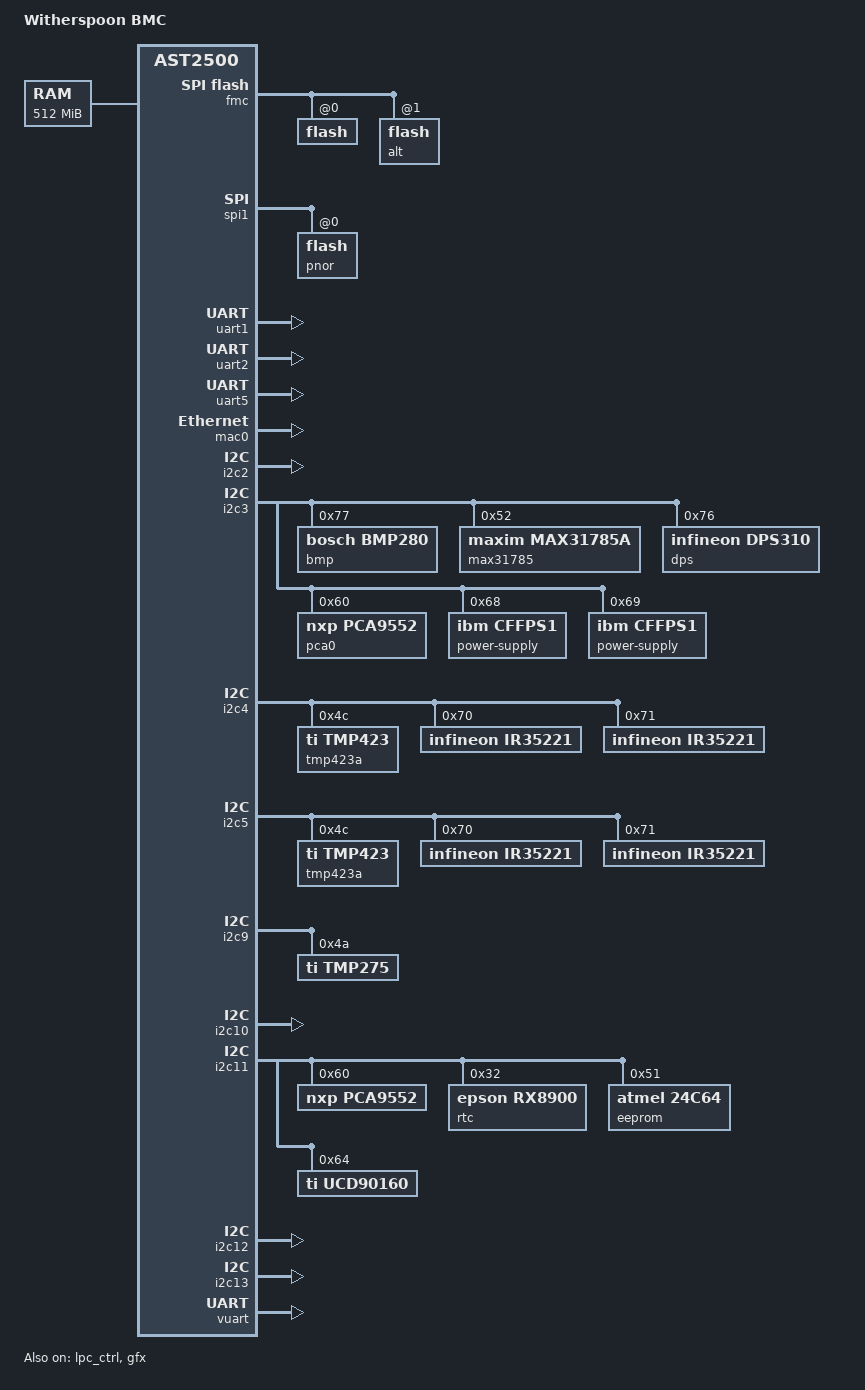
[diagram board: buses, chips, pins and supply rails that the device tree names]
// SPDX-License-Identifier: GPL-2.0+
/dts-v1/;
#include "aspeed-g5.dtsi"
#include <dt-bindings/leds/leds-pca955x.h>

/ {
	model = "Witherspoon BMC";
	compatible = "ibm,witherspoon-bmc", "aspeed,ast2500";

	chosen {
		stdout-path = &uart5;
		bootargs = "console=ttyS4,115200 earlyprintk";
	};

	memory {
		reg = <0x80000000 0x20000000>;
	};

	reserved-memory {
		#address-cells = <1>;
		#size-cells = <1>;
		ranges;

		flash_memory: region@98000000 {
			no-map;
			reg = <0x98000000 0x04000000>; /* 64M */
		};
	};

};

&fmc {
	status = "okay";

	flash@0 {
		status = "okay";
		m25p,fast-read;
	};

	flash@1 {
		status = "okay";
		label = "alt";
		m25p,fast-read;
	};
};

&spi1 {
	status = "okay";
	pinctrl-names = "default";
	pinctrl-0 = <&pinctrl_spi1_default>;

	flash@0 {
		status = "okay";
		label = "pnor";
		m25p,fast-read;
	};
};

&uart1 {
	/* Rear RS-232 connector */
	status = "okay";
	pinctrl-names = "default";
	pinctrl-0 = <&pinctrl_txd1_default
			&pinctrl_rxd1_default
			&pinctrl_nrts1_default
			&pinctrl_ndtr1_default
			&pinctrl_ndsr1_default
			&pinctrl_ncts1_default
			&pinctrl_ndcd1_default
			&pinctrl_nri1_default>;
};

&uart2 {
	/* APSS */
	status = "okay";
	pinctrl-names = "default";
	pinctrl-0 = <&pinctrl_txd2_default &pinctrl_rxd2_default>;
};

&uart5 {
	status = "okay";
};

&lpc_ctrl {
	status = "okay";
	memory-region = <&flash_memory>;
	flash = <&spi1>;
};

&mac0 {
	status = "okay";
	pinctrl-names = "default";
	pinctrl-0 = <&pinctrl_rmii1_default>;
	use-ncsi;
};

&i2c2 {
	status = "okay";

	/* MUX ->
	 *    Samtec 1
	 *    Samtec 2
	 */
};

&i2c3 {
	status = "okay";

	bmp: bmp280@77 {
		compatible = "bosch,bmp280";
		reg = <0x77>;
		#io-channel-cells = <1>;
	};

	max31785@52 {
		compatible = "maxim,max31785a";
		reg = <0x52>;
		#address-cells = <1>;
		#size-cells = <0>;
	};

	dps: dps310@76 {
		compatible = "infineon,dps310";
		reg = <0x76>;
		#io-channel-cells = <0>;
	};

	pca0: pca9552@60 {
		compatible = "nxp,pca9552";
		reg = <0x60>;
		#address-cells = <1>;
		#size-cells = <0>;

		gpio-controller;
		#gpio-cells = <2>;

		gpio@0 {
			reg = <0>;
			type = <PCA955X_TYPE_GPIO>;
		};

		gpio@1 {
			reg = <1>;
			type = <PCA955X_TYPE_GPIO>;
		};

		gpio@2 {
			reg = <2>;
			type = <PCA955X_TYPE_GPIO>;
		};

		gpio@3 {
			reg = <3>;
			type = <PCA955X_TYPE_GPIO>;
		};

		gpio@4 {
			reg = <4>;
			type = <PCA955X_TYPE_GPIO>;
		};

		gpio@5 {
			reg = <5>;
			type = <PCA955X_TYPE_GPIO>;
		};

		gpio@6 {
			reg = <6>;
			type = <PCA955X_TYPE_GPIO>;
		};

		gpio@7 {
			reg = <7>;
			type = <PCA955X_TYPE_GPIO>;
		};

		gpio@8 {
			reg = <8>;
			type = <PCA955X_TYPE_GPIO>;
		};

		gpio@9 {
			reg = <9>;
			type = <PCA955X_TYPE_GPIO>;
		};

		gpio@10 {
			reg = <10>;
			type = <PCA955X_TYPE_GPIO>;
		};

		gpio@11 {
			reg = <11>;
			type = <PCA955X_TYPE_GPIO>;
		};

		gpio@12 {
			reg = <12>;
			type = <PCA955X_TYPE_GPIO>;
		};

		gpio@13 {
			reg = <13>;
			type = <PCA955X_TYPE_GPIO>;
		};

		gpio@14 {
			reg = <14>;
			type = <PCA955X_TYPE_GPIO>;
		};

		gpio@15 {
			reg = <15>;
			type = <PCA955X_TYPE_GPIO>;
		};
	};

	power-supply@68 {
		compatible = "ibm,cffps1";
		reg = <0x68>;
	};

	power-supply@69 {
		compatible = "ibm,cffps1";
		reg = <0x69>;
	};
};

&i2c4 {
	status = "okay";

	tmp423a@4c {
		compatible = "ti,tmp423";
		reg = <0x4c>;
	};

	ir35221@70 {
		compatible = "infineon,ir35221";
		reg = <0x70>;
	};

	ir35221@71 {
		compatible = "infineon,ir35221";
		reg = <0x71>;
	};
};


&i2c5 {
	status = "okay";

	tmp423a@4c {
		compatible = "ti,tmp423";
		reg = <0x4c>;
	};

	ir35221@70 {
		compatible = "infineon,ir35221";
		reg = <0x70>;
	};

	ir35221@71 {
		compatible = "infineon,ir35221";
		reg = <0x71>;
	};
};

&i2c9 {
	status = "okay";

	tmp275@4a {
		compatible = "ti,tmp275";
		reg = <0x4a>;
	};
};

&i2c10 {
	/* MUX
	 *   -> PCIe Slot 3
	 *   -> PCIe Slot 4
	 */
	status = "okay";
};

&i2c11 {
	status = "okay";

	pca9552: pca9552@60 {
		compatible = "nxp,pca9552";
		reg = <0x60>;
		#address-cells = <1>;
		#size-cells = <0>;
		gpio-controller;
		#gpio-cells = <2>;

		gpio-line-names = "PS_SMBUS_RESET_N", "APSS_RESET_N",
			"GPU0_TH_OVERT_N_BUFF",	"GPU1_TH_OVERT_N_BUFF",
			"GPU2_TH_OVERT_N_BUFF", "GPU3_TH_OVERT_N_BUFF",
			"GPU4_TH_OVERT_N_BUFF",	"GPU5_TH_OVERT_N_BUFF",
			"GPU0_PWR_GOOD_BUFF", "GPU1_PWR_GOOD_BUFF",
			"GPU2_PWR_GOOD_BUFF", "GPU3_PWR_GOOD_BUFF",
			"GPU4_PWR_GOOD_BUFF", "GPU5_PWR_GOOD_BUFF",
			"12V_BREAKER_FLT_N", "THROTTLE_UNLATCHED_N";

		gpio@0 {
			reg = <0>;
			type = <PCA955X_TYPE_GPIO>;
		};

		gpio@1 {
			reg = <1>;
			type = <PCA955X_TYPE_GPIO>;
		};

		gpio@2 {
			reg = <2>;
			type = <PCA955X_TYPE_GPIO>;
		};

		gpio@3 {
			reg = <3>;
			type = <PCA955X_TYPE_GPIO>;
		};

		gpio@4 {
			reg = <4>;
			type = <PCA955X_TYPE_GPIO>;
		};

		gpio@5 {
			reg = <5>;
			type = <PCA955X_TYPE_GPIO>;
		};

		gpio@6 {
			reg = <6>;
			type = <PCA955X_TYPE_GPIO>;
		};

		gpio@7 {
			reg = <7>;
			type = <PCA955X_TYPE_GPIO>;
		};

		gpio@8 {
			reg = <8>;
			type = <PCA955X_TYPE_GPIO>;
		};

		gpio@9 {
			reg = <9>;
			type = <PCA955X_TYPE_GPIO>;
		};

		gpio@10 {
			reg = <10>;
			type = <PCA955X_TYPE_GPIO>;
		};

		gpio@11 {
			reg = <11>;
			type = <PCA955X_TYPE_GPIO>;
		};

		gpio@12 {
			reg = <12>;
			type = <PCA955X_TYPE_GPIO>;
		};

		gpio@13 {
			reg = <13>;
			type = <PCA955X_TYPE_GPIO>;
		};

		gpio@14 {
			reg = <14>;
			type = <PCA955X_TYPE_GPIO>;
		};

		gpio@15 {
			reg = <15>;
			type = <PCA955X_TYPE_GPIO>;
		};
	};

	rtc@32 {
		compatible = "epson,rx8900";
		reg = <0x32>;
	};

	eeprom@51 {
		compatible = "atmel,24c64";
		reg = <0x51>;
	};

	ucd90160@64 {
		compatible = "ti,ucd90160";
		reg = <0x64>;
	};
};

&i2c12 {
	status = "okay";
};

&i2c13 {
	status = "okay";
};

&vuart {
	status = "okay";
};

&gfx {
	status = "okay";
};

&pinctrl {
	aspeed,external-nodes = <&gfx &lhc>;
};

&wdt1 {
	aspeed,reset-type = "none";
	aspeed,external-signal;
	aspeed,ext-push-pull;
	aspeed,ext-active-high;

	pinctrl-names = "default";
	pinctrl-0 = <&pinctrl_wdtrst1_default>;
};
